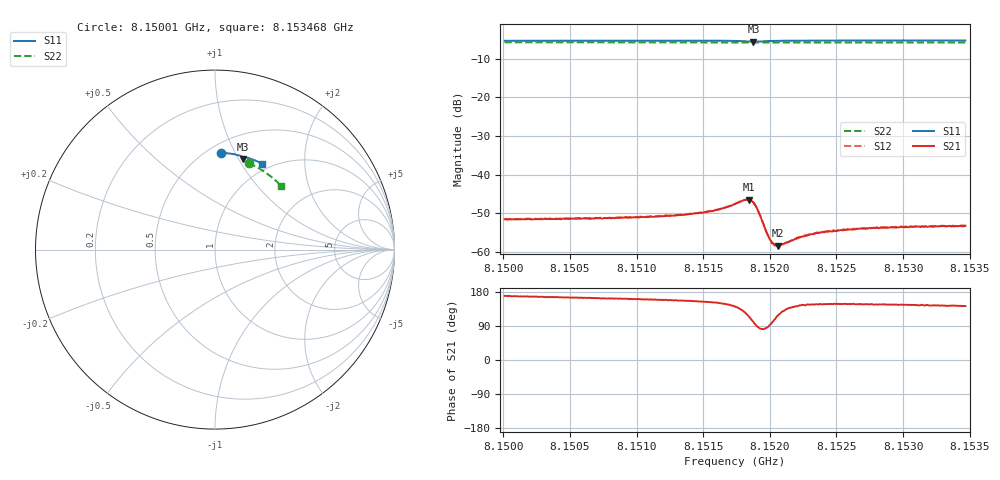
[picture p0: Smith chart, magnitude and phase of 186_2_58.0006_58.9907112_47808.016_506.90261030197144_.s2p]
#  HZ  S  RI  R  50.00
! Rohde & Schwarz Vector Network Analyzer
! Rohde-Schwarz,ZNB20-2Port,1311601062101988,3.16
! Created: UTC 3/21/2024, 12:58:38 AM
! freq[Hz]  re:S11  im:S11  re:S21  im:S21  re:S12  im:S12  re:S22  im:S22
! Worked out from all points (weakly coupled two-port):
!   401 points, 8.15001 GHz to 8.153468 GHz, reference 50 ohm
!   highest |S21| = -46.40 dB at 8.151843 GHz (marker M1); lowest = -58.3 dB at 8.152059 GHz (marker M2)
!   lowest |S11| = -5.6 dB at 8.151877 GHz (marker M3), VSWR 3.22, Z = 37.4 + j52 ohm
!   |S11| at or under -10 dB: nowhere
!   |S22| runs from -5.8 to -5.7 dB; largest |S21 - S12| = 0.00011
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8.1500103e9  0.0317 0.5395  -0.00262 0.000493  -0.00264 0.000557  0.1873 0.4806
8.1505894e9  0.0724 0.5364  -0.00262 0.000734  -0.00265 0.000788  0.2214 0.465
8.1511685e9  0.1131 0.5302  -0.00271 0.00104  -0.00274 0.00109  0.2542 0.4473
8.1513846e9  0.1284 0.5267  -0.00281 0.00125  -0.00281 0.00129  0.2662 0.44
8.1515575e9  0.1414 0.523  -0.003 0.00154  -0.00303 0.00161  0.2754 0.4339
8.1516353e9  0.1477 0.5206  -0.00315 0.00184  -0.00313 0.0019  0.2795 0.431
8.151739e9  0.156 0.5153  -0.00326 0.00262  -0.00322 0.00271  0.285 0.4271
8.1517995e9  0.1596 0.5095  -0.00297 0.0036  -0.00293 0.00367  0.2881 0.4247
8.1518427e9  0.1588 0.5043  -0.00203 0.00433  -0.00201 0.00439  0.2901 0.4229
8.1518773e9  0.155 0.5026  -0.000752 0.00431  -0.000681 0.00435  0.2916 0.4219
8.1519118e9  0.152 0.5053  0.000195 0.00343  0.000257 0.00346  0.2934 0.4207
8.151981e9  0.1552 0.5124  0.000128 0.00172  0.000155 0.0017  0.297 0.4183
8.1519983e9  0.157 0.5132  -4.59e-05 0.00148  -2.4e-05 0.0015  0.2979 0.4177
8.1520156e9  0.1587 0.5139  -0.000185 0.00129  -0.000167 0.00133  0.2989 0.4171
8.1520329e9  0.1605 0.5142  -0.00034 0.00119  -0.000344 0.00124  0.2998 0.4165
8.1520588e9  0.1631 0.5145  -0.000546 0.00108  -0.000526 0.00108  0.3011 0.4155
8.1522144e9  0.1763 0.513  -0.0012 0.000912  -0.00124 0.000898  0.3092 0.4095
8.1523181e9  0.1844 0.5108  -0.00143 0.000926  -0.00146 0.00099  0.3144 0.4053
8.1524305e9  0.1924 0.5084  -0.00155 0.000995  -0.00156 0.00101  0.3201 0.4007
8.1526033e9  0.2042 0.5043  -0.00167 0.00105  -0.00168 0.00109  0.3284 0.3935
8.1528972e9  0.2237 0.4966  -0.00174 0.00116  -0.00171 0.00118  0.3423 0.381
8.1534677e9  0.2598 0.4797  -0.00173 0.00134  -0.00174 0.00135  0.368 0.3552
